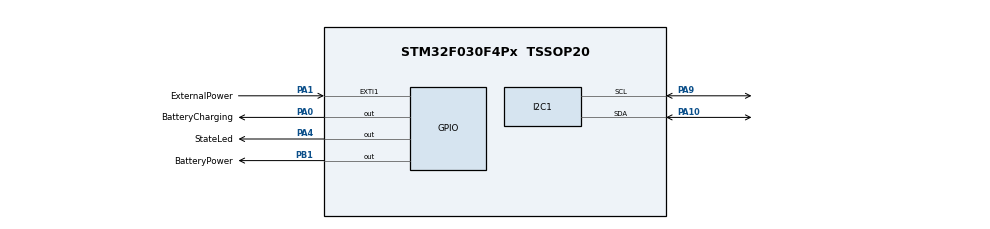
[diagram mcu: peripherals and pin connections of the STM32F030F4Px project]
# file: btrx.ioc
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Mcu.Family=STM32F0
Mcu.Name=STM32F030F4Px
Mcu.Package=TSSOP20
NVIC.EXTI0_1_IRQn=true\:0\:0\:false\:false\:true\:true\:true\:true
NVIC.I2C1_IRQn=true\:0\:0\:false\:false\:true\:true\:true\:true
NVIC.RTC_IRQn=true\:0\:0\:false\:false\:true\:true\:true\:true
PA0.GPIO_Label=BatteryCharging
PA0.Signal=GPIO_Output
PA1.GPIO_Label=ExternalPower
PA1.Signal=GPXTI1
PA10.Mode=I2C
PA10.Signal=I2C1_SDA
PA13.Mode=Serial_Wire
PA13.Signal=SYS_SWDIO
PA14.Mode=Serial_Wire
PA14.Signal=SYS_SWCLK
PA4.GPIO_Label=StateLed
PA4.Signal=GPIO_Output
PA9.Mode=I2C
PA9.Signal=I2C1_SCL
PB1.GPIO_Label=BatteryPower
PB1.Signal=GPIO_Output
PF0-OSC_IN.Mode=HSE-External-Oscillator
PF0-OSC_IN.Signal=RCC_OSC_IN
PF1-OSC_OUT.Mode=HSE-External-Oscillator
PF1-OSC_OUT.Signal=RCC_OSC_OUT
ProjectManager.HeapSize=0x200
ProjectManager.StackSize=0x400
ProjectManager.TargetToolchain=STM32CubeIDE
RCC.I2c1ClockSelection=RCC_I2C1CLKSOURCE_SYSCLK
RCC.PLLSourceVirtual=RCC_PLLSOURCE_HSE
RCC.SYSCLKSource=RCC_SYSCLKSOURCE_HSE
RTC.Alarm=RTC_ALARM_A
RTC.AlarmMaskDateWeekDay=RTC_ALARMMASK_DATEWEEKDAY
RTC.AlarmMaskHours=RTC_ALARMMASK_HOURS
RTC.AlarmMaskMinutes=RTC_ALARMMASK_MINUTES
RTC.Seconds_A=4
RTC.SynchPrediv=311
VP_RTC_VS_RTC_Activate.Mode=RTC_Enabled
VP_RTC_VS_RTC_Alarm_A_Intern.Mode=Alarm A
VP_RTC_VS_RTC_Calendar.Mode=RTC_Calendar
board=custom

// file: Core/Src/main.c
/* USER CODE BEGIN Header */
/**
  ******************************************************************************
  * @file           : main.c
  * @brief          : Main program body
  ******************************************************************************
  * @attention
  *
  * Copyright (c) 2024 STMicroelectronics.
  * All rights reserved.
  *
  * This software is licensed under terms that can be found in the LICENSE file
  * in the root directory of this software component.
  * If no LICENSE file comes with this software, it is provided AS-IS.
  *
  ******************************************************************************
  */
/* USER CODE END Header */
#include "main.h"

/* USER CODE BEGIN Includes */
#include "ina219.h"
#include "ssd1306.h"
#include <math.h>
/* USER CODE END Includes */

/* USER CODE BEGIN PD */
#define STATE_CHARGING 1
#define STATE_POWERED 2
#define STATE_IRQ 4

#define LOW_BATTERY 3.65
#define MAX_BATTERY 4.15
#define CHRG_START 4.05
/* USER CODE END PD */

I2C_HandleTypeDef hi2c1;

RTC_HandleTypeDef hrtc;

/* USER CODE BEGIN PV */
uint8_t state = 0;
/* USER CODE END PV */

void SystemClock_Config(void);
static void MX_GPIO_Init(void);
static void MX_I2C1_Init(void);
static void MX_RTC_Init(void);

/* USER CODE BEGIN 0 */
void set_battery_power(uint8_t enable) {
    HAL_GPIO_WritePin(BatteryPower_GPIO_Port, BatteryPower_Pin, enable ? GPIO_PIN_SET : GPIO_PIN_RESET);
}

void set_battery_charging(uint8_t enable) {
	state = (state & ~STATE_CHARGING) | (enable ? STATE_CHARGING : 0);
	HAL_GPIO_WritePin(BatteryCharging_GPIO_Port, BatteryCharging_Pin, enable ? GPIO_PIN_SET : GPIO_PIN_RESET);
}

void set_state_led(uint8_t enable) {
	HAL_GPIO_WritePin(StateLed_GPIO_Port, StateLed_Pin, enable ? GPIO_PIN_RESET : GPIO_PIN_SET);
}

void float_to_string(float num, char *str) {
    float decimal_part = fabs(num);
    int int_part = (int)decimal_part;
    decimal_part -= int_part;

    // Convert integer part to string
    int i = 0;
    while (int_part > 0) {
        str[i++] = '0' + (int_part % 10);
        int_part /= 10;
    }
    if (num < 0) {
        str[i++] = '-';
    }
    str[i] = '\0';

    // Reverse the integer part string
    int j = 0, k = i - 1;
    while (j < k) {
        char temp = str[j];
        str[j] = str[k];
        str[k] = temp;
        j++;
        k--;
    }

    // Append decimal point
    str[i++] = '.';

    // Convert decimal part to string (approximate)
    for (int j = 0; j < 2; j++) {
        decimal_part *= 10;
        int digit = (int)decimal_part;
        str[i++] = '0' + digit;
        decimal_part -= digit;
    }

    str[i] = '\0';
}

void process(void) {
	state |= STATE_IRQ;
    HAL_ResumeTick();

    state = (state & ~STATE_POWERED) | (HAL_GPIO_ReadPin(ExternalPower_GPIO_Port, ExternalPower_Pin) == GPIO_PIN_SET ? STATE_POWERED : 0);
	float voltage = ina219_getBusVoltage();
	float current = ina219_getCurrent() * -1; // ina219 connected in reverse
	set_state_led(0);
	if ((state & STATE_POWERED) == 0) {
		set_battery_charging(0);
		set_battery_power(voltage >= LOW_BATTERY ? 1 : 0);
	} else {
		set_battery_power(0);
		if ((state & STATE_CHARGING) == 0) {
			if (voltage < CHRG_START) {
				set_battery_charging(1);
			}
		} else {
			if (voltage >= MAX_BATTERY) {
				set_battery_charging(0);
				set_state_led(1);
			}
		}
	}
	ssd1306_Fill(Black);
	ssd1306_SetCursor(1, 1);
	ssd1306_WriteString("Battery-X", Font_7x10, White);
	ssd1306_SetCursor(1, 14);
	ssd1306_WriteString("State: ", Font_7x10, White);
	if ((state & STATE_POWERED) == 0) {
		ssd1306_WriteString("discharging", Font_7x10, White);
	} else if ((state & STATE_CHARGING) != 0) {
		ssd1306_WriteString("charging", Font_7x10, White);
	} else {
		ssd1306_WriteString("A/C", Font_7x10, White);
	}
	char num[20];
	ssd1306_SetCursor(1, 25);
	ssd1306_WriteString("Voltage: ", Font_7x10, White);
	float_to_string(voltage, num);
	ssd1306_WriteString(num, Font_7x10, White);
	ssd1306_WriteString("V", Font_7x10, White);
	ssd1306_SetCursor(1, 36);
	ssd1306_WriteString("Current: ", Font_7x10, White);
	float_to_string(current, num);
	ssd1306_WriteString(num, Font_7x10, White);
	ssd1306_WriteString("mA", Font_7x10, White);
    ssd1306_UpdateScreen();

    HAL_SuspendTick();
    HAL_PWR_EnableSEVOnPend();
	__HAL_PWR_CLEAR_FLAG(PWR_FLAG_WU | PWR_FLAG_SB);
	__HAL_RTC_ALARM_CLEAR_FLAG(&hrtc, RTC_FLAG_ALRAF);
	NVIC_ClearPendingIRQ(RTC_IRQn);
    __HAL_RCC_PWR_CLK_ENABLE();
    HAL_PWR_EnterSLEEPMode(PWR_MAINREGULATOR_ON, PWR_SLEEPENTRY_WFE);
	state = (state & ~STATE_IRQ);
}

void HAL_RTC_AlarmAEventCallback(RTC_HandleTypeDef *hrtc) {
	RTC_AlarmTypeDef alarm;
	HAL_RTC_GetAlarm(hrtc, &alarm, RTC_ALARM_A, FORMAT_BIN);
	if (alarm.AlarmTime.Seconds > 58) {
		alarm.AlarmTime.Seconds = 0;
	} else {
		alarm.AlarmTime.Seconds = alarm.AlarmTime.Seconds + 1;
	}
	while(HAL_RTC_SetAlarm_IT(hrtc, &alarm, FORMAT_BIN) != HAL_OK);

	if ((state & STATE_IRQ) == 0) {
		process();
	}
}

void HAL_GPIO_EXTI_Callback(uint16_t pin) {
	UNUSED(pin);
//	if (pin != ExternalPower_Pin) {
//		return;
//	}
	if ((state & STATE_IRQ) == 0) {
		process();
	}
}
/* USER CODE END 0 */

int main(void)
{

  /* MCU Configuration--------------------------------------------------------*/

  /* Reset of all peripherals, Initializes the Flash interface and the Systick. */
  HAL_Init();

  /* Configure the system clock */
  SystemClock_Config();

  /* Initialize all configured peripherals */
  MX_GPIO_Init();
  MX_I2C1_Init();
  MX_RTC_Init();
  /* USER CODE BEGIN 2 */
  set_state_led(1);
  while (!ina219_Init()) {
	  HAL_Delay(10);
  }
  HAL_Delay(250);
  set_state_led(0);
  HAL_Delay(100);
  ina219_Calibrate();
  set_state_led(1);
  HAL_Delay(100);
  set_state_led(0);
  HAL_Delay(100);
  set_state_led(1);
  HAL_Delay(100);
  set_state_led(0);

  ssd1306_Init();

  /* USER CODE END 2 */

  /* Infinite loop */
  /* USER CODE BEGIN WHILE */
  while (1)
  {
	  HAL_Delay(1000);
    /* USER CODE END WHILE */

  }
}

void SystemClock_Config(void)
{
  RCC_OscInitTypeDef RCC_OscInitStruct = {0};
  RCC_ClkInitTypeDef RCC_ClkInitStruct = {0};
  RCC_PeriphCLKInitTypeDef PeriphClkInit = {0};

  /** Initializes the RCC Oscillators according to the specified parameters
  * in the RCC_OscInitTypeDef structure.
  */
  RCC_OscInitStruct.OscillatorType = RCC_OSCILLATORTYPE_LSI|RCC_OSCILLATORTYPE_HSE;
  RCC_OscInitStruct.HSEState = RCC_HSE_ON;
  RCC_OscInitStruct.LSIState = RCC_LSI_ON;
  RCC_OscInitStruct.PLL.PLLState = RCC_PLL_NONE;
  if (HAL_RCC_OscConfig(&RCC_OscInitStruct) != HAL_OK)
  {
    Error_Handler();
  }

  /** Initializes the CPU, AHB and APB buses clocks
  */
  RCC_ClkInitStruct.ClockType = RCC_CLOCKTYPE_HCLK|RCC_CLOCKTYPE_SYSCLK
                              |RCC_CLOCKTYPE_PCLK1;
  RCC_ClkInitStruct.SYSCLKSource = RCC_SYSCLKSOURCE_HSE;
  RCC_ClkInitStruct.AHBCLKDivider = RCC_SYSCLK_DIV1;
  RCC_ClkInitStruct.APB1CLKDivider = RCC_HCLK_DIV1;

  if (HAL_RCC_ClockConfig(&RCC_ClkInitStruct, FLASH_LATENCY_0) != HAL_OK)
  {
    Error_Handler();
  }
  PeriphClkInit.PeriphClockSelection = RCC_PERIPHCLK_I2C1|RCC_PERIPHCLK_RTC;
  PeriphClkInit.I2c1ClockSelection = RCC_I2C1CLKSOURCE_SYSCLK;
  PeriphClkInit.RTCClockSelection = RCC_RTCCLKSOURCE_LSI;
  if (HAL_RCCEx_PeriphCLKConfig(&PeriphClkInit) != HAL_OK)
  {
    Error_Handler();
  }
}

static void MX_I2C1_Init(void)
{

  hi2c1.Instance = I2C1;
  hi2c1.Init.Timing = 0x2000090E;
  hi2c1.Init.OwnAddress1 = 0;
  hi2c1.Init.AddressingMode = I2C_ADDRESSINGMODE_7BIT;
  hi2c1.Init.DualAddressMode = I2C_DUALADDRESS_DISABLE;
  hi2c1.Init.OwnAddress2 = 0;
  hi2c1.Init.OwnAddress2Masks = I2C_OA2_NOMASK;
  hi2c1.Init.GeneralCallMode = I2C_GENERALCALL_DISABLE;
  hi2c1.Init.NoStretchMode = I2C_NOSTRETCH_DISABLE;
  if (HAL_I2C_Init(&hi2c1) != HAL_OK)
  {
    Error_Handler();
  }

  /** Configure Analogue filter
  */
  if (HAL_I2CEx_ConfigAnalogFilter(&hi2c1, I2C_ANALOGFILTER_ENABLE) != HAL_OK)
  {
    Error_Handler();
  }

  /** Configure Digital filter
  */
  if (HAL_I2CEx_ConfigDigitalFilter(&hi2c1, 0) != HAL_OK)
  {
    Error_Handler();
  }

}

static void MX_RTC_Init(void)
{

  RTC_TimeTypeDef sTime = {0};
  RTC_DateTypeDef sDate = {0};
  RTC_AlarmTypeDef sAlarm = {0};

  /** Initialize RTC Only
  */
  hrtc.Instance = RTC;
  hrtc.Init.HourFormat = RTC_HOURFORMAT_24;
  hrtc.Init.AsynchPrediv = 127;
  hrtc.Init.SynchPrediv = 311;
  hrtc.Init.OutPut = RTC_OUTPUT_DISABLE;
  hrtc.Init.OutPutPolarity = RTC_OUTPUT_POLARITY_HIGH;
  hrtc.Init.OutPutType = RTC_OUTPUT_TYPE_OPENDRAIN;
  if (HAL_RTC_Init(&hrtc) != HAL_OK)
  {
    Error_Handler();
  }

  /** Initialize RTC and set the Time and Date
  */
  sTime.Hours = 0x0;
  sTime.Minutes = 0x0;
  sTime.Seconds = 0x0;
  sTime.DayLightSaving = RTC_DAYLIGHTSAVING_NONE;
  sTime.StoreOperation = RTC_STOREOPERATION_RESET;
  if (HAL_RTC_SetTime(&hrtc, &sTime, RTC_FORMAT_BCD) != HAL_OK)
  {
    Error_Handler();
  }
  sDate.WeekDay = RTC_WEEKDAY_MONDAY;
  sDate.Month = RTC_MONTH_JANUARY;
  sDate.Date = 0x1;
  sDate.Year = 0x0;

  if (HAL_RTC_SetDate(&hrtc, &sDate, RTC_FORMAT_BCD) != HAL_OK)
  {
    Error_Handler();
  }

  /** Enable the Alarm A
  */
  sAlarm.AlarmTime.Hours = 0x0;
  sAlarm.AlarmTime.Minutes = 0x0;
  sAlarm.AlarmTime.Seconds = 0x4;
  sAlarm.AlarmTime.SubSeconds = 0x0;
  sAlarm.AlarmTime.DayLightSaving = RTC_DAYLIGHTSAVING_NONE;
  sAlarm.AlarmTime.StoreOperation = RTC_STOREOPERATION_RESET;
  sAlarm.AlarmMask = RTC_ALARMMASK_DATEWEEKDAY|RTC_ALARMMASK_HOURS
                              |RTC_ALARMMASK_MINUTES;
  sAlarm.AlarmSubSecondMask = RTC_ALARMSUBSECONDMASK_ALL;
  sAlarm.AlarmDateWeekDaySel = RTC_ALARMDATEWEEKDAYSEL_DATE;
  sAlarm.AlarmDateWeekDay = 0x1;
  sAlarm.Alarm = RTC_ALARM_A;
  if (HAL_RTC_SetAlarm_IT(&hrtc, &sAlarm, RTC_FORMAT_BCD) != HAL_OK)
  {
    Error_Handler();
  }

}

static void MX_GPIO_Init(void)
{
  GPIO_InitTypeDef GPIO_InitStruct = {0};

  /* GPIO Ports Clock Enable */
  __HAL_RCC_GPIOF_CLK_ENABLE();
  __HAL_RCC_GPIOA_CLK_ENABLE();
  __HAL_RCC_GPIOB_CLK_ENABLE();

  /*Configure GPIO pin Output Level */
  HAL_GPIO_WritePin(GPIOA, BatteryCharging_Pin|StateLed_Pin, GPIO_PIN_RESET);

  /*Configure GPIO pin Output Level */
  HAL_GPIO_WritePin(BatteryPower_GPIO_Port, BatteryPower_Pin, GPIO_PIN_RESET);

  /*Configure GPIO pins : BatteryCharging_Pin StateLed_Pin */
  GPIO_InitStruct.Pin = BatteryCharging_Pin|StateLed_Pin;
  GPIO_InitStruct.Mode = GPIO_MODE_OUTPUT_PP;
  GPIO_InitStruct.Pull = GPIO_NOPULL;
  GPIO_InitStruct.Speed = GPIO_SPEED_FREQ_LOW;
  HAL_GPIO_Init(GPIOA, &GPIO_InitStruct);

  /*Configure GPIO pin : ExternalPower_Pin */
  GPIO_InitStruct.Pin = ExternalPower_Pin;
  GPIO_InitStruct.Mode = GPIO_MODE_IT_RISING;
  GPIO_InitStruct.Pull = GPIO_NOPULL;
  HAL_GPIO_Init(ExternalPower_GPIO_Port, &GPIO_InitStruct);

  /*Configure GPIO pin : BatteryPower_Pin */
  GPIO_InitStruct.Pin = BatteryPower_Pin;
  GPIO_InitStruct.Mode = GPIO_MODE_OUTPUT_PP;
  GPIO_InitStruct.Pull = GPIO_NOPULL;
  GPIO_InitStruct.Speed = GPIO_SPEED_FREQ_LOW;
  HAL_GPIO_Init(BatteryPower_GPIO_Port, &GPIO_InitStruct);

  /* EXTI interrupt init*/
  HAL_NVIC_SetPriority(EXTI0_1_IRQn, 0, 0);
  HAL_NVIC_EnableIRQ(EXTI0_1_IRQn);

}

void Error_Handler(void)
{
  __disable_irq();
  while (1)
  {
  }
}
